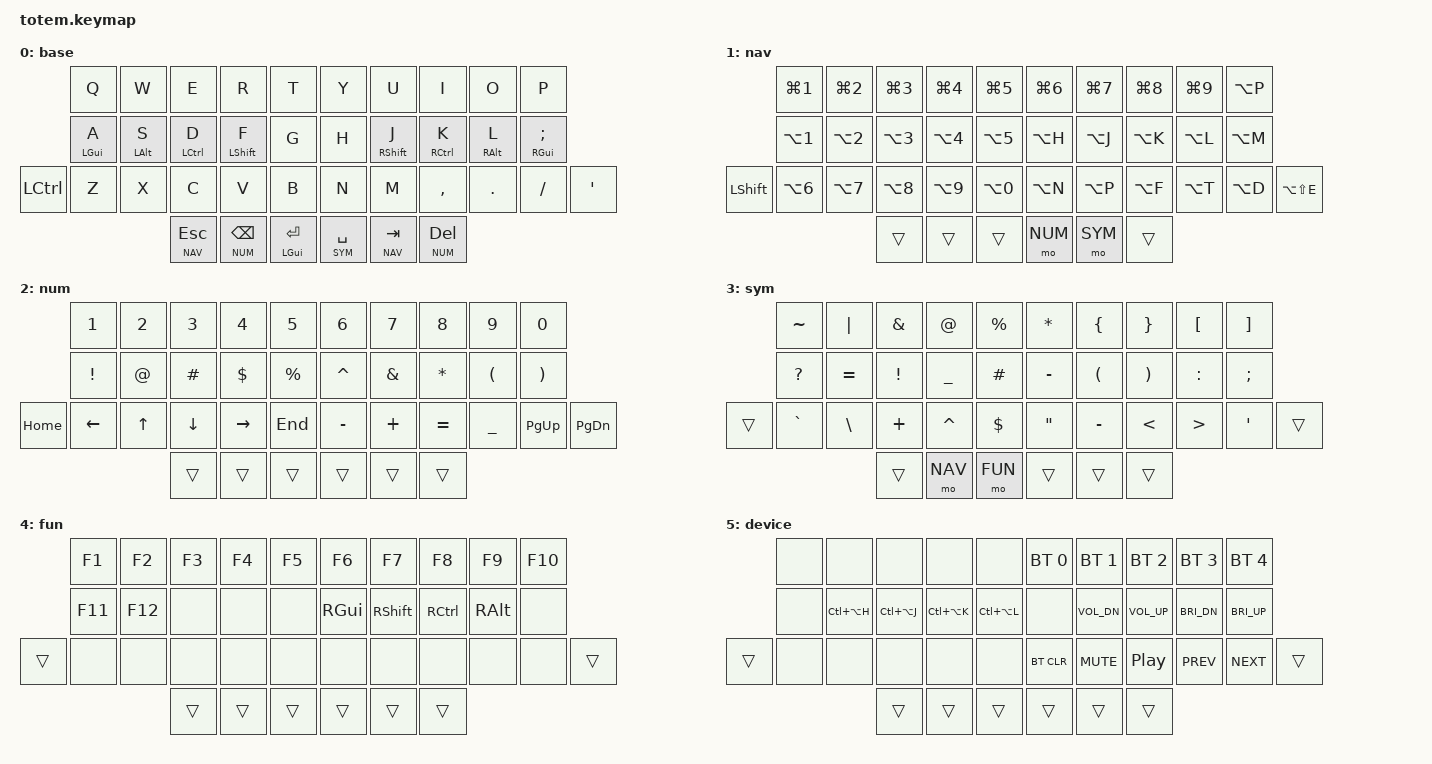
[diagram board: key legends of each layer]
//
//                                                        ▀▀▀▀▀     ▀▀▀▀▀          ▀▀█▀▀
//                                                        ▄▀▀▀▄  ▄  ▄▀▀▀▄  ▄  ▄▀▀▀▄  █  ▄▀▀▀▄
//                                                        █   █  █  █   █  █  █   █  █  █   █
//                                                         ▀▀▀   █   ▀▀▀   █   ▀▀▀   ▀   ▀▀▀
//                                                               █      ▄▄▄█▄▄▄    █   █
//                                                               ▀      █  █  █     █▄█
//                                                             ▀▀▀▀▀    █  █  █      ▀
//                                                                      ▀  ▀  ▀
//
// ▄▄▄▄▄▄▄▄▄▄▄▄▄▄▄▄▄▄▄▄▄▄▄▄▄▄▄▄▄▄▄▄▄▄▄▄▄▄▄▄▄▄▄▄▄▄▄▄▄▄▄▄▄▄▄▄▄▄▄▄▄▄▄▄▄▄▄▄▄▄▄▄▄▄▄▄▄▄▄▄▄▄▄▄▄▄▄▄▄▄▄▄▄▄▄▄▄▄▄▄▄▄▄▄▄▄▄▄▄▄▄▄▄▄▄▄▄▄▄▄▄▄▄▄▄▄▄▄▄▄▄▄▄▄▄▄▄▄▄▄▄▄▄▄▄▄▄▄▄

#include <behaviors.dtsi>
#include <dt-bindings/zmk/bt.h>
#include <dt-bindings/zmk/keys.h>

// Layer indices
#define BASE   0
#define NAV    1
#define NUM    2
#define SYM    3
#define FUN    4
#define DEVICE 5

// Timing parameters
#define QUICK_TAP_MS 175
#define TAPPING_TERM 280
#define REQUIRE_IDLE_MS 150

// Key position groups for homerow mods
#define KEYS_L 0 1 2 3 4 10 11 12 13 14 20 21 22 23 24 25
#define KEYS_R 5 6 7 8 9 15 16 17 18 19 26 27 28 29 30 31
#define THUMBS 32 33 34 35 36 37

&mt {
    flavor          = "tap-preferred";
    quick-tap-ms    = <QUICK_TAP_MS>;
    tapping-term-ms = <TAPPING_TERM>;
};

/ {
    behaviors {
        hml: homerow_mod_left {
            compatible = "zmk,behavior-hold-tap";
            #binding-cells = <2>;
            flavor = "balanced";
            tapping-term-ms = <TAPPING_TERM>;
            quick-tap-ms = <QUICK_TAP_MS>;
            require-prior-idle-ms = <REQUIRE_IDLE_MS>;
            bindings = <&kp>, <&kp>;
            hold-trigger-key-positions = <KEYS_R THUMBS>;
            hold-trigger-on-release;
        };

        hmr: homerow_mod_right {
            compatible = "zmk,behavior-hold-tap";
            #binding-cells = <2>;
            flavor = "balanced";
            tapping-term-ms = <TAPPING_TERM>;
            quick-tap-ms = <QUICK_TAP_MS>;
            require-prior-idle-ms = <REQUIRE_IDLE_MS>;
            bindings = <&kp>, <&kp>;
            hold-trigger-key-positions = <KEYS_L THUMBS>;
            hold-trigger-on-release;
        };

        // Layer-tap tuned for SPACE: only resolves to hold after a brief
        // typing pause, so fast space->letter rolls never fire the layer
        lts: layer_tap_space {
            compatible = "zmk,behavior-hold-tap";
            #binding-cells = <2>;
            flavor = "balanced";
            tapping-term-ms = <TAPPING_TERM>;
            quick-tap-ms = <QUICK_TAP_MS>;
            require-prior-idle-ms = <REQUIRE_IDLE_MS>;
            bindings = <&mo>, <&kp>;
        };
    };

    combos {
        compatible = "zmk,combos";

        combo_esc {
            timeout-ms = <50>;
            key-positions = <0 1>;
            bindings = <&kp ESC>;
            layers = <BASE>;
        };

        combo_caps_word {
            timeout-ms = <50>;
            key-positions = <13 16>;
            bindings = <&caps_word>;
            layers = <BASE>;
        };

        combo_copy {
            timeout-ms = <50>;
            key-positions = <22 23>;
            bindings = <&kp LG(C)>;
            layers = <BASE>;
        };

        combo_cut {
            timeout-ms = <50>;
            key-positions = <21 22>;
            bindings = <&kp LG(X)>;
            layers = <BASE>;
        };

        combo_paste {
            timeout-ms = <50>;
            key-positions = <23 24>;
            bindings = <&kp LG(V)>;
            layers = <BASE>;
        };

        combo_bspc {
            timeout-ms = <50>;
            key-positions = <8 9>;
            bindings = <&kp BSPC>;
            layers = <BASE>;
        };
    };

    conditional_layers {
        compatible = "zmk,conditional-layers";

        device {
            if-layers = <NAV SYM>;
            then-layer = <DEVICE>;
        };
    };

    keymap {
        compatible = "zmk,keymap";

        // -------------------------------------------------------------------------
        // BASE — QWERTY + Homerow Mods
        //
        // Thumb cluster:
        //   L1  ESC / NAV      L2  BSPC / NUM      L3  ENTER / LGUI
        //   R1  SPACE / SYM    R2  TAB / FUN       R3  DEL
        //   · Every layer is one thumb-hold from base (NUM on L2, SYM on space)
        //   · NAV + SYM still tri-layers to DEVICE
        // -------------------------------------------------------------------------
        base {
            bindings = <
         &kp Q       &kp W       &kp E        &kp R        &kp T          &kp Y      &kp U        &kp I        &kp O       &kp P
         &hml LGUI A &hml LALT S &hml LCTRL D &hml LSHFT F &kp G          &kp H      &hmr RSHFT J &hmr RCTRL K &hmr RALT L &hmr RGUI SEMI
&kp LCTRL  &kp Z       &kp X       &kp C        &kp V        &kp B          &kp N      &kp M        &kp COMMA    &kp DOT     &kp FSLH       &kp APOS
                                  &lt NAV ESC  &lt NUM BSPC  &mt LGUI ENTER      &lts SYM SPACE  &lt NAV TAB  &lt NUM DEL
            >;
        };

        // -------------------------------------------------------------------------
        // NAV — Window Manager (yabai/skhd) + App Tab Navigation
        //
        // Design principles:
        //   · cmd+1..0 top row    — tabs/panes in apps (browser, terminal, editor)
        //   · alt+1..5 home left  — focus spaces 1-5
        //   · alt+6..0 bot left   — focus spaces 6-10
        //   · Same finger = same number across all three rows
        //   · alt+hjkl home right — focus window, alt+m — recent space
        //   · alt+p/n bot right   — prev/next space, f fullscreen, t float, d zoom
        //   · Bot-left-outer LSHFT is the "move window" modifier: hold it to shift
        //     any alt binding — swap window (hjkl), send to space (1..0), send to
        //     prev/next space (p/n), native fullscreen (f)
        //   · Window resize (ctrl+alt+hjkl) lives on the DEVICE layer
        // -------------------------------------------------------------------------
        nav {
            bindings = <
         &kp LG(N1) &kp LG(N2) &kp LG(N3) &kp LG(N4) &kp LG(N5)      &kp LG(N6) &kp LG(N7) &kp LG(N8) &kp LG(N9) &kp LA(P)
         &kp LA(N1) &kp LA(N2) &kp LA(N3) &kp LA(N4) &kp LA(N5)      &kp LA(H)  &kp LA(J)  &kp LA(K)  &kp LA(L)  &kp LA(M)
&kp LSHFT &kp LA(N6) &kp LA(N7) &kp LA(N8) &kp LA(N9) &kp LA(N0)     &kp LA(N)  &kp LA(P)  &kp LA(F)  &kp LA(T)  &kp LA(D) &kp LA(LS(E))
                                &trans     &trans     &trans          &mo NUM    &mo SYM    &trans
            >;
        };

        // -------------------------------------------------------------------------
        // NUM — Numbers + Shifted Symbols + Glove80-style Symbol Row
        //
        // Design principles:
        //   · Digits 1-0 on top row, same column as base letters
        //   · Shifted symbols on home row, each under its digit (! @ # $ % ^ & * ( ))
        //   · Bottom row Glove80-style: brackets open left / close right,
        //     ` < > complete the pairs, - _ and + = on the right outer keys
        //   · Arrows moved to left outer/home inner so home row stays symbols
        //
        //  1   2   3   4   5        6   7   8   9   0
        //  !   @   #   $   %        ^   &   *   (   )
        // ←  HOME [   ]   →         -   +   =   PG_UP  PG_DN
        // -------------------------------------------------------------------------
        num {
            bindings = <
         &kp N1    &kp N2    &kp N3     &kp N4     &kp N5         &kp N6     &kp N7       &kp N8       &kp N9      &kp N0
         &kp EXCL  &kp AT    &kp HASH   &kp DLLR   &kp PRCNT      &kp CARET  &kp AMPS     &kp STAR     &kp LPAR    &kp RPAR
&kp HOME &kp LEFT  &kp UP &kp DOWN  &kp RIGHT  &kp END &kp MINUS  &kp PLUS     &kp EQUAL    &kp UNDER   &kp PG_UP &kp PG_DN
                              &trans     &trans     &trans          &trans     &trans       &trans
            >;
        };

        // -------------------------------------------------------------------------
        // SYM — Python-Optimized Symbols
        //
        // Design principles:
        //   · `():` outward roll on right hand (J→K→L) — the Python trigram
        //   · `{}` above `()` for visual/muscle-memory bracket alignment
        //   · `[]` top row right, `{}` below it
        //   · `->` outward roll right bot (M→,  i.e. index→middle)
        //   · `!=` outward roll left hand (D→S  i.e. middle→ring)
        //   · `_`  at left index home (F) — most common Python singleton
        //   · `#`  at left index-inner home (G) — inline comments
        //   · `@`  at left index top (R) — decorators
        //   · `*`  at right index-inner top (Y) — *args / **kwargs
        //   · `-`  duplicated: H home (arithmetic) + M bot (-> roll)
        //
        // ~   |   &   @   %       *   {   }   [   ]
        // ?   =   !   _   #       -   (   )   :   ;
        // `   \   +   ^   $       "   -   <   >   '
        // -------------------------------------------------------------------------
        sym {
            bindings = <
         &kp TILDE  &kp PIPE  &kp AMPS   &kp AT     &kp PRCNT      &kp STAR   &kp LBRC     &kp RBRC     &kp LBKT    &kp RBKT
         &kp QMARK  &kp EQUAL &kp EXCL   &kp UNDER  &kp HASH       &kp MINUS  &kp LPAR     &kp RPAR     &kp COLON   &kp SEMI
&trans   &kp GRAVE  &kp BSLH  &kp PLUS   &kp CARET  &kp DLLR       &kp DQT     &kp MINUS    &kp LT       &kp GT     &kp SQT    &trans
                               &trans     &mo NAV    &mo FUN        &trans     &trans       &trans
            >;
        };

        // -------------------------------------------------------------------------
        // FUN — Function Keys
        // -------------------------------------------------------------------------
        fun {
            bindings = <
         &kp F1    &kp F2    &kp F3     &kp F4     &kp F5         &kp F6     &kp F7       &kp F8       &kp F9      &kp F10
         &kp F11   &kp F12   &none      &none      &none          &kp RGUI   &kp RSHFT    &kp RCTRL    &kp RALT    &none
&trans   &none     &none     &none      &none      &none          &none      &none        &none        &none       &none         &trans
                              &trans     &trans     &trans          &trans     &trans       &trans
            >;
        };

        // -------------------------------------------------------------------------
        // DEVICE — BT, Media, Brightness (tri-layer: NAV + SYM)
        // -------------------------------------------------------------------------
        device {
            bindings = <
         &none     &none     &none      &none      &none          &bt BT_SEL 0 &bt BT_SEL 1 &bt BT_SEL 2 &bt BT_SEL 3 &bt BT_SEL 4
         &none     &kp LC(LA(H)) &kp LC(LA(J)) &kp LC(LA(K)) &kp LC(LA(L))    &none        &kp C_VOL_DN &kp C_VOL_UP &kp C_BRI_DN &kp C_BRI_UP
&trans   &none     &none     &none      &none      &none          &bt BT_CLR   &kp C_MUTE   &kp C_PP     &kp C_PREV   &kp C_NEXT    &trans
                              &trans     &trans     &trans          &trans       &trans       &trans
            >;
        };

        // Reserved layers for ZMK Studio
        extra1 { status = "reserved"; };
        extra2 { status = "reserved"; };
        extra3 { status = "reserved"; };
    };
};
